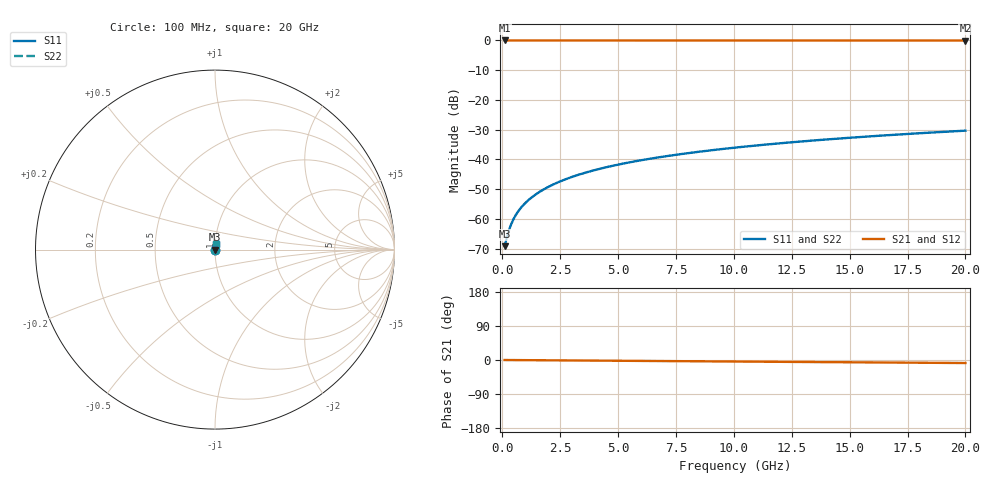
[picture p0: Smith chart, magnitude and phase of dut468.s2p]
! Touchstone file exported from HFSS 2026.1.0
!  File:  C:/ffzhzh/LocalFiles/Ansys_Project_Files/temp_train_TSV_468_1783022192_51716.aedt
!  Generated:  03:58:47 AM Jul  3, 2026
!  Design:  TSV
!  Project:  temp_train_TSV_468_1783022192_51716
! Variables:
!  h_bsmrdl = 2um
!  h_ox = 20um
!  h_rdl = 5um
!  h_sub = 79.84um
!  h_tmrdl = 5um
!  h_tsv = 79.84um
!  h_via = 3um
!  l_bsmrdl = 300um
!  l_sub = 412.08um
!  l_tmrdl = 200um
!  m_sub = 200um
!  pitch = 32.76um
!  r_tsv = 6.04um
!  s_tmrdl = 10um
!  w_bsmrdl = 18um
!  w_sub = 500um
!  w_tmrdl = 12um
!  x_tsv_center1 = 206um
!  x_tsv_center2 = 524um
!  x_tsv_center3 = 736um
!  x_tsv_center4 = 1054um
!  x_tsv_center5 = 1266um
!  x_tsv_center6 = 1584um
# GHz S MA R 50.000000
! Terminal data exported
! Port[1] = TSV1_1_T1
! Port[2] = TSV1_1_T2
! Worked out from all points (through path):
!   200 points, 100 MHz to 20 GHz, reference 50 ohm
!   highest |S21| = 0.00 dB at 100 MHz (marker M1); lowest = 0.0 dB at 20 GHz (marker M2)
!   group delay of S21, straight-line fit = 1.11 ps
!   lowest |S11| = -69.1 dB at 100 MHz (marker M3), VSWR 1.00, Z = 50 + j0.02 ohm
!   |S11| at or under -10 dB: start of sweep to end of sweep
!   |S22| runs from -69.1 to -30.3 dB; largest |S21 - S12| = 2.4e-15
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0.1  0.0003499 34.8  0.9997 -0.0  0.9997 -0.0  0.0003499 34.8
! Gamma 0 0 0 0
! Port Impedance 50 0 50 0
0.2  0.0004971 53.0  0.9997 -0.1  0.9997 -0.1  0.0004971 53.0
0.3  0.0006694 61.7  0.9997 -0.1  0.9997 -0.1  0.0006694 61.7
0.4  0.0008472 66.4  0.9997 -0.2  0.9997 -0.2  0.0008472 66.4
0.5  0.001024 69.2  0.9996 -0.2  0.9996 -0.2  0.001024 69.2
0.6  0.001198 71.1  0.9996 -0.3  0.9996 -0.3  0.001198 71.1
0.8  0.001538 73.5  0.9996 -0.3  0.9996 -0.3  0.001538 73.5
1.1  0.002033 75.8  0.9995 -0.5  0.9995 -0.5  0.002033 75.8
1.5  0.002681 77.7  0.9994 -0.6  0.9994 -0.6  0.002681 77.7
1.8  0.003164 78.7  0.9994 -0.7  0.9994 -0.7  0.003164 78.7
2.1  0.003646 79.4  0.9994 -0.9  0.9994 -0.9  0.003646 79.4
2.7  0.004605 80.3  0.9993 -1.1  0.9993 -1.1  0.004605 80.3
3.5  0.00587 80.9  0.9992 -1.4  0.9992 -1.4  0.00587 80.9
4.2  0.006964 81.2  0.9991 -1.7  0.9991 -1.7  0.006964 81.2
5  0.008201 81.4  0.999 -2.0  0.999 -2.0  0.008201 81.4
5.9  0.009578 81.4  0.9989 -2.4  0.9989 -2.4  0.009578 81.4
6.8  0.01094 81.4  0.9988 -2.7  0.9988 -2.7  0.01094 81.4
8.3  0.01321 81.3  0.9987 -3.3  0.9987 -3.3  0.01321 81.3
10.1  0.0159 81.1  0.9985 -4.1  0.9985 -4.1  0.0159 81.1
13.4  0.02082 80.4  0.9982 -5.4  0.9982 -5.4  0.02082 80.4
16.7  0.02569 79.5  0.998 -6.7  0.998 -6.7  0.02569 79.5
20  0.03051 78.4  0.9976 -8.0  0.9976 -8.0  0.03051 78.4
